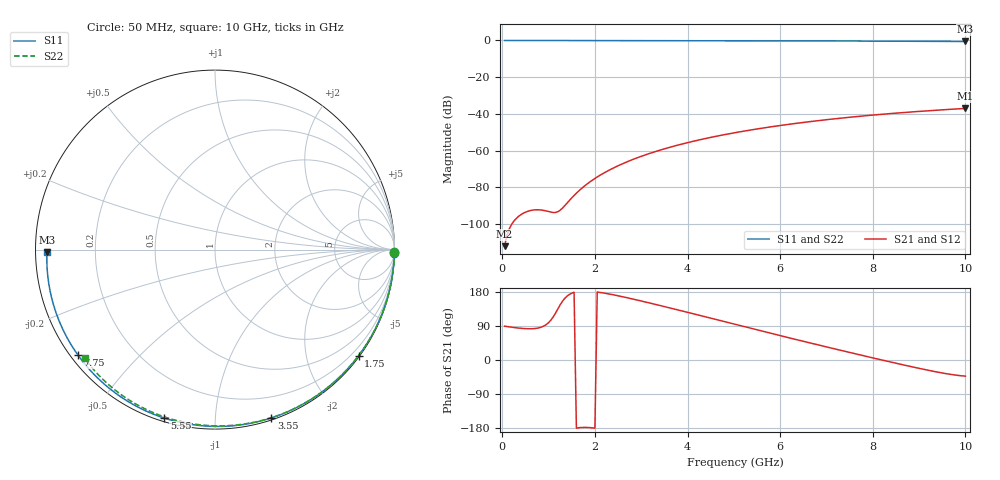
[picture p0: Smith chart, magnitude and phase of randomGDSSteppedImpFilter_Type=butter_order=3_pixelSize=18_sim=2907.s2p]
! freq	dB(S11)	phase(S11)	dB(S12)	phase(S12)
!  dB(S21)	phase(S21)	dB(S22)	phase(S22)
!S-par simulation data
#  GHz  S  DB  R 50
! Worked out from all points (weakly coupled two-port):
!   200 points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, 50 MHz to 10 GHz, reference 50 ohm
!   highest |S21| = -37.05 dB at 10 GHz (marker M1); lowest = -112.1 dB at 50 MHz (marker M2)
!   lowest |S11| = -0.6 dB at 10 GHz (marker M3), VSWR 30.57, Z = 1.64 - j0.389 ohm
!   |S11| at or under -10 dB: nowhere
!   |S22| runs from -0.5 to 0.0 dB; largest |S21 - S12| = 0
!   S11 on the Smith chart (normalised r, x): 50 MHz: open; 1.75 GHz: 0.03, -3.04; 3.55 GHz: 0.02, -1.39; 5.55 GHz: 0.02, -0.74; 7.75 GHz: 0.02, -0.34; 10 GHz: 0.03, -0.01
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0.05  -0.00 -1.1  -112.12 89.1  -112.12 89.1  -0.00 -0.8
0.5  -0.02 -10.6  -93.60 82.8  -93.60 82.8  -0.01 -8.0
0.9  -0.02 -18.9  -92.67 89.8  -92.67 89.8  -0.02 -14.4
1.3  -0.03 -27.2  -91.37 155.1  -91.37 155.1  -0.03 -20.7
1.75  -0.05 -36.4  -79.85 -177.9  -79.85 -177.9  -0.04 -27.7
1.9  -0.05 -39.5  -76.94 -178.5  -76.94 -178.5  -0.04 -30.0
2.05  -0.05 -42.5  -74.41 179.4  -74.41 179.4  -0.04 -32.3
2.25  -0.06 -46.5  -71.46 175.5  -71.46 175.5  -0.05 -35.4
2.45  -0.07 -50.4  -68.89 170.7  -68.89 170.7  -0.05 -38.5
2.9  -0.08 -59.2  -64.08 158.6  -64.08 158.6  -0.06 -45.3
3.4  -0.09 -68.7  -59.82 144.0  -59.82 144.0  -0.07 -52.7
3.55  -0.09 -71.5  -58.70 139.5  -58.70 139.5  -0.07 -54.9
4.3  -0.12 -85.1  -53.93 116.5  -53.93 116.5  -0.09 -65.7
5.05  -0.15 -98.3  -50.15 93.4  -50.15 93.4  -0.12 -76.2
5.55  -0.17 -106.8  -48.04 78.0  -48.04 78.0  -0.14 -83.0
6.1  -0.20 -115.9  -46.00 61.3  -46.00 61.3  -0.16 -90.3
6.7  -0.24 -125.7  -44.07 43.4  -44.07 43.4  -0.19 -98.2
7.25  -0.28 -134.6  -42.51 27.2  -42.51 27.2  -0.22 -105.2
7.75  -0.32 -142.6  -41.25 12.7  -41.25 12.7  -0.26 -111.5
8.35  -0.38 -152.1  -39.91 -4.3  -39.91 -4.3  -0.30 -119.0
9.2  -0.47 -165.9  -38.32 -27.2  -38.32 -27.2  -0.38 -129.6
10  -0.57 -179.1  -37.05 -42.6  -37.05 -42.6  -0.50 -140.0
